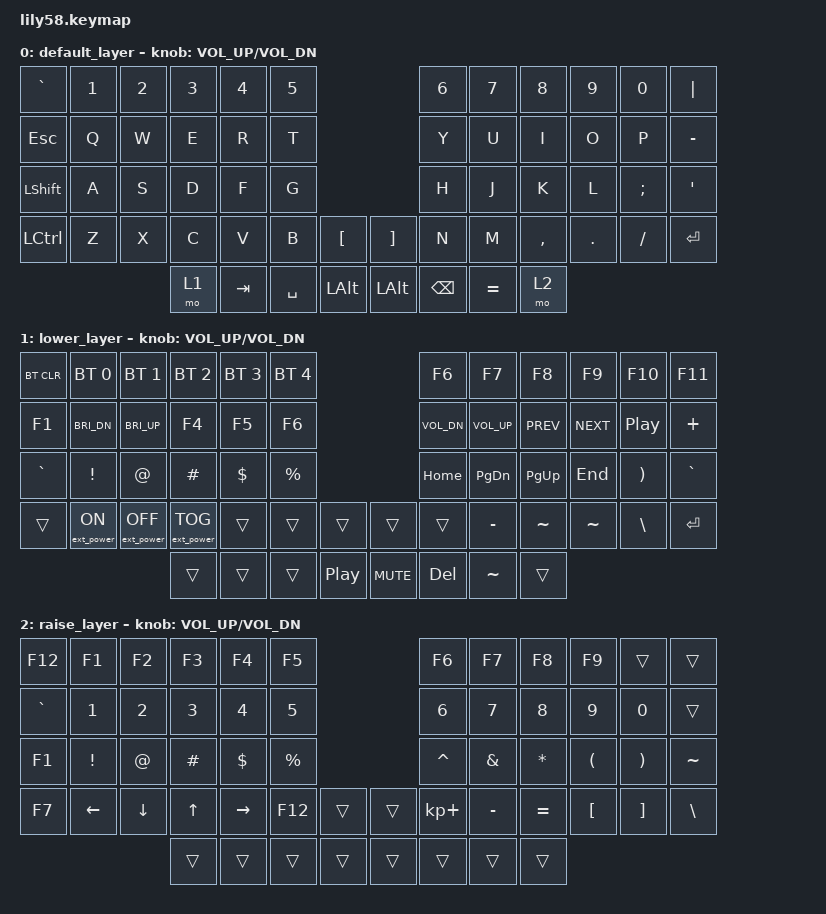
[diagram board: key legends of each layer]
#include <behaviors.dtsi>
#include <dt-bindings/zmk/keys.h>
#include <dt-bindings/zmk/bt.h>
#include <dt-bindings/zmk/ext_power.h>

/ {
    keymap {
        compatible = "zmk,keymap";

        default_layer {
// ------------------------------------------------------------------------------------------------------------
// |  `    |  1  |  2  |  3   |  4   |  5   |                   |  6   |  7    |  8    |  9   |   0   |   \   |
// |  TAB  |  Q  |  W  |  E   |  R   |  T   |                   |  Y   |  U    |  I    |  O   |   P   |   -   |
// |  ESC  |  A  |  S  |  D   |  F   |  G   |                   |  H   |  J    |  K    |  L   |   ;   |   '   |
// | SHIFT |  Z  |  X  |  C   |  V   |  B   |   "["  |  |  "]"  |  N   |  M    |  ,    |  .   |   /   | BCKSP |
//                     | CTRL | LOWER| LALT |  SPACE |  | ENTER | LALT | RAISE  | GUI   |
            bindings = <
&kp GRAVE &kp N1 &kp N2 &kp N3   &kp N4   &kp N5                     &kp N6 &kp N7   &kp N8    &kp N9  &kp N0   &kp PIPE
&kp ESC   &kp Q  &kp W  &kp E    &kp R    &kp T                      &kp Y  &kp U    &kp I     &kp O   &kp P    &kp MINUS
&kp LSHFT   &kp A  &kp S  &kp D    &kp F    &kp G                      &kp H  &kp J    &kp K     &kp L   &kp SEMI &kp SQT
&kp LCTRL &kp Z  &kp X  &kp C    &kp V    &kp B  &kp LBKT   &kp RBKT &kp N  &kp M    &kp COMMA &kp DOT &kp FSLH &kp RET
                        &mo 1 &kp TAB &kp SPACE  &kp LALT  &kp LALT  &kp BSPC  &kp EQUAL &mo 2
            >;

            sensor-bindings = <&inc_dec_kp C_VOL_UP C_VOL_DN>;
        };

        lower_layer {
// ------------------------------------------------------------------------------------------------------------
// | BTCLR | BT1 | BT2 |  BT3 |  BT4 |  BT5 |                   |      |       |       |      |       |       |
// |  F1   |  F2 |  F3 |  F4  |  F5  |  F6  |                   |  F7  |  F8   |  F9   |  F10 |  F11  |  F12  |
// |   `   |  !  |  @  |  #   |  $   |  %   |                   |  ^   |  &    |  *    |  (   |   )   |   ~   |
// |       |     |     |      |      |      |        |  |       |      |  _    |  +    |  {   |   }   |  "|"  |
//                     |      |      |      |        |  |       |      |       |       |
            bindings = <
&bt BT_CLR &bt BT_SEL 0     &bt BT_SEL 1      &bt BT_SEL 2      &bt BT_SEL 3 &bt BT_SEL 4                 &kp F6    &kp F7    &kp F8    &kp F9    &kp F10    &kp F11
&kp F1     &kp C_BRI_DN     &kp C_BRI_UP      &kp F4            &kp F5       &kp F6                       &kp C_VOL_DN    &kp C_VOL_UP    &kp C_PREV    &kp C_NEXT   &kp C_PLAY_PAUSE   &kp PLUS
&kp GRAVE  &kp EXCL         &kp AT            &kp HASH          &kp DOLLAR   &kp PRCNT                    &kp HOME &kp PG_DN  &kp PG_UP &kp END  &kp RPAR   &kp GRAVE
&trans     &ext_power EP_ON &ext_power EP_OFF &ext_power EP_TOG &trans       &trans    &trans   &trans    &trans    &kp MINUS &kp TILDE  &kp TILDE  &kp BSLH  &kp RET
                                              &trans            &trans       &trans    &kp C_PLAY_PAUSE   &kp C_MUTE    &kp DEL  &kp TILDE    &trans
            >;

            sensor-bindings = <&inc_dec_kp C_VOL_UP C_VOL_DN>;
        };

        raise_layer {
// ------------------------------------------------------------------------------------------------------------
// |       |     |     |      |      |      |                   |      |       |       |      |       |       |
// |   `   |  1  |  2  |  3   |  4   |  5   |                   |  6   |   7   |   8   |  9   |   0   |       |
// |   F1  |  F2 |  F3 |  F4  |  F5  |  F6  |                   |      |   <-  |   v   |  ^   |  ->   |       |
// |   F7  |  F8 |  F9 |  F10 |  F11 |  F12 |        |  |       |  +   |   -   |   =   |  [   |   ]   |   \   |
//                     |      |      |      |        |  |       |      |       |       |
            bindings = <
&kp F12    &kp F1 &kp F2 &kp F3  &kp F4  &kp F5                       &kp F6      &kp F7    &kp F8    &kp F9   &trans    &trans
&kp GRAVE &kp N1 &kp N2 &kp N3  &kp N4  &kp N5                       &kp N6      &kp N7    &kp N8    &kp N9   &kp N0    &trans
&kp F1    &kp EXCL &kp AT &kp HASH  &kp DOLLAR  &kp PRCNT            &kp CARET      &kp AMPS  &kp ASTRK  &kp LPAR   &kp RPAR &kp TILDE
&kp F7    &kp LEFT &kp DOWN &kp UP &kp RIGHT &kp F12   &trans   &trans    &kp KP_PLUS &kp MINUS &kp EQUAL &kp LBKT &kp RBKT  &kp BSLH
                        &trans  &trans  &trans    &trans   &trans    &trans      &trans    &trans
            >;

            sensor-bindings = <&inc_dec_kp C_VOL_UP C_VOL_DN>;
        };
    };
};
